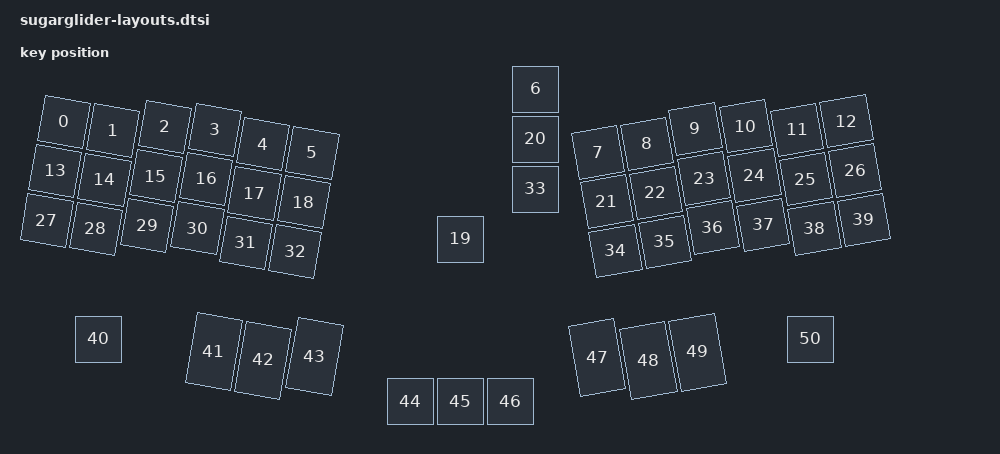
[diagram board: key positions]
/*
 * Copyright (c) 2024 The ZMK Contributors
 *
 * SPDX-License-Identifier: MIT
 */

#include <physical_layouts.dtsi>

/ {
    chosen {
        zmk,physical-layout = &default_layout;
    };

    default_layout: default_layout {
        compatible = "zmk,physical-layout";
        display-name = "Default";

        transform = <&default_transform>;

        keys  //                     w   h    x    y     rot    rx    ry
            = <&key_physical_attrs 100 100    0   50    1000 (-50)     0>
            , <&key_physical_attrs 100 100  100   50    1000 (-50)     0>
            , <&key_physical_attrs 100 100  200   25    1000 (-50)     0>
            , <&key_physical_attrs 100 100  300   13    1000 (-50)     0>
            , <&key_physical_attrs 100 100  400   25    1000 (-50)     0>
            , <&key_physical_attrs 100 100  500   25    1000 (-50)     0>
            , <&key_physical_attrs 100 100  925    0       0     0     0>
            , <&key_physical_attrs 100 100 1025   50 (-1000)  1526     0>
            , <&key_physical_attrs 100 100 1125   50 (-1000)  1526     0>
            , <&key_physical_attrs 100 100 1225   38 (-1000)  1526     0>
            , <&key_physical_attrs 100 100 1325   50 (-1000)  1526     0>
            , <&key_physical_attrs 100 100 1425   75 (-1000)  1526     0>
            , <&key_physical_attrs 100 100 1525   75 (-1000)  1526     0>
            , <&key_physical_attrs 100 100    0  150    1000 (-50)     0>
            , <&key_physical_attrs 100 100  100  150    1000 (-50)     0>
            , <&key_physical_attrs 100 100  200  125    1000 (-50)     0>
            , <&key_physical_attrs 100 100  300  113    1000 (-50)     0>
            , <&key_physical_attrs 100 100  400  125    1000 (-50)     0>
            , <&key_physical_attrs 100 100  500  125    1000 (-50)     0>
            , <&key_physical_attrs 100 100  775  300       0     0     0>
            , <&key_physical_attrs 100 100  925  100       0     0     0>
            , <&key_physical_attrs 100 100 1025  150 (-1000)  1526     0>
            , <&key_physical_attrs 100 100 1125  150 (-1000)  1526     0>
            , <&key_physical_attrs 100 100 1225  138 (-1000)  1526     0>
            , <&key_physical_attrs 100 100 1325  150 (-1000)  1526     0>
            , <&key_physical_attrs 100 100 1425  175 (-1000)  1526     0>
            , <&key_physical_attrs 100 100 1525  175 (-1000)  1526     0>
            , <&key_physical_attrs 100 100    0  250    1000 (-50)     0>
            , <&key_physical_attrs 100 100  100  250    1000 (-50)     0>
            , <&key_physical_attrs 100 100  200  225    1000 (-50)     0>
            , <&key_physical_attrs 100 100  300  213    1000 (-50)     0>
            , <&key_physical_attrs 100 100  400  225    1000 (-50)     0>
            , <&key_physical_attrs 100 100  500  225    1000 (-50)     0>
            , <&key_physical_attrs 100 100  925  200       0     0     0>
            , <&key_physical_attrs 100 100 1025  250 (-1000)  1526     0>
            , <&key_physical_attrs 100 100 1125  250 (-1000)  1526     0>
            , <&key_physical_attrs 100 100 1225  238 (-1000)  1526     0>
            , <&key_physical_attrs 100 100 1325  250 (-1000)  1526     0>
            , <&key_physical_attrs 100 100 1425  275 (-1000)  1526     0>
            , <&key_physical_attrs 100 100 1525  275 (-1000)  1526     0>
            , <&key_physical_attrs 100 100   50  500       0     0     0>
            , <&key_physical_attrs 100 150  375  425    1000 (-50)     0>
            , <&key_physical_attrs 100 150  475  425    1000 (-50)     0>
            , <&key_physical_attrs 100 150  575  400    1000 (-50)     0>
            , <&key_physical_attrs 100 100  675  625       0     0     0>
            , <&key_physical_attrs 100 100  775  625       0     0     0>
            , <&key_physical_attrs 100 100  875  625       0     0     0>
            , <&key_physical_attrs 100 150  950  450 (-1000)  1400     0>
            , <&key_physical_attrs 100 150 1050  475 (-1000)  1400     0>
            , <&key_physical_attrs 100 150 1150  475 (-1000)  1400     0>
            , <&key_physical_attrs 100 100 1475  500       0     0     0>
            ;
    };
};

